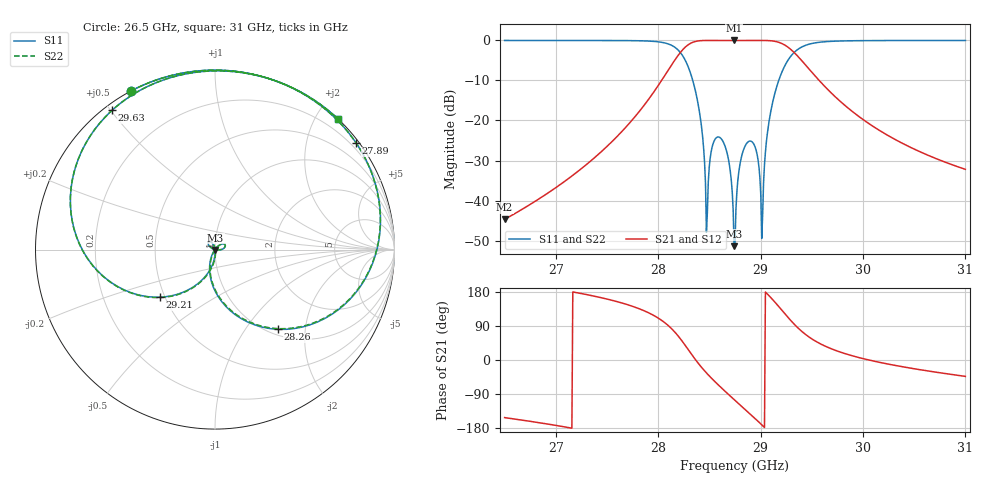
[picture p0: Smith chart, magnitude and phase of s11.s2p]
! Touchstone file from project Ka_PF
! Exported from HFSS 15.0.0
! Variables:
!  AA = 0.34in
!  BB = 0.145in
!  M01 = 0.166in
!  M11 = 0.2126in
!  M12 = 0.1117in
!  M22 = 0.2362in
!  PL = 0.3in
!  RR = 0.035in
!  TT = 0.04in
!Data is not renormalized
# GHZ S DB
! Modal data exported
! Port[1] = 1:1
! Port[2] = 2:1
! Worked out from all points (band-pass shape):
!   501 points, 26.5 GHz to 31 GHz, reference per port
!   highest |S21| = 0.00 dB at 28.74 GHz (marker M1); lowest = -44.7 dB at 26.5 GHz (marker M2)
!   |S21| within 3 dB of the highest: 28.22 GHz to 29.33 GHz (1.11 GHz wide, 3.86 % of centre)
!   lowest |S11| = -51.4 dB at 28.74 GHz (marker M3), VSWR 1.01
!   |S11| at or under -10 dB: 28.34 GHz to 29.18 GHz (839.4 MHz wide, 2.92 % of centre)
!   |S22| runs from -51.4 to 0.0 dB; largest |S21 - S12| = 4.7e-14
!   S11 on the Smith chart (normalised r, x): 26.5 GHz: 0.00, +0.60; 27.89 GHz: 0.07, +2.99; 28.26 GHz: 1.10, -1.44; 29.21 GHz: 0.47, -0.30; 29.63 GHz: 0.02, +0.51; 31 GHz: 0.00, +2.31
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26.5  -0.00 117.9  -44.72 -152.0  -44.72 -152.0  -0.00 118.0
! Gamma ! -0 419.682041892289 -0 419.68206317171
! Port Impedance 262.306912805849 0 262.303263880503 0
27.256  -0.00 85.0  -31.91 175.0  -31.91 175.0  -0.00 85.1
27.886  -0.13 37.0  -15.40 127.1  -15.40 127.1  -0.13 37.3
28.003  -0.35 20.0  -11.16 110.1  -11.16 110.1  -0.35 20.3
28.264  -4.94 -51.7  -1.68 38.6  -1.68 38.6  -4.94 -51.1
28.399  -17.23 -102.0  -0.08 -11.4  -0.08 -11.4  -17.23 -100.7
28.471  -47.93 -134.6  -0.00 -34.0  -0.00 -34.0  -47.93 -113.5
28.534  -25.95 38.4  -0.01 -51.8  -0.01 -51.8  -25.95 38.0
28.606  -24.32 19.0  -0.02 -70.7  -0.02 -70.7  -24.32 19.6
28.687  -29.85 -2.4  -0.00 -91.0  -0.00 -91.0  -29.85 0.3
28.741  -51.41 -35.9  -0.00 -104.4  -0.00 -104.4  -51.41 7.1
28.75  -51.11 -175.1  -0.00 -106.6  -0.00 -106.6  -51.11 142.0
28.795  -31.49 154.9  -0.00 -117.5  -0.00 -117.5  -31.49 150.0
28.876  -25.38 134.2  -0.01 -137.2  -0.01 -137.2  -25.38 131.4
28.957  -27.49 114.8  -0.01 -157.1  -0.01 -157.1  -27.49 110.9
29.02  -43.63 -96.2  -0.00 -173.3  -0.00 -173.3  -43.62 -70.1
29.083  -20.15 -101.4  -0.04 169.5  -0.04 169.5  -20.15 -99.6
29.209  -7.84 -139.2  -0.78 131.0  -0.78 131.0  -7.84 -138.8
29.506  -0.73 144.7  -8.10 54.7  -8.10 54.7  -0.73 144.8
29.632  -0.31 126.4  -11.63 36.4  -11.63 36.4  -0.31 126.4
30.253  -0.02 78.8  -23.88 -11.2  -23.88 -11.2  -0.02 78.9
31  -0.00 46.7  -32.21 -43.2  -32.21 -43.2  -0.00 46.8
